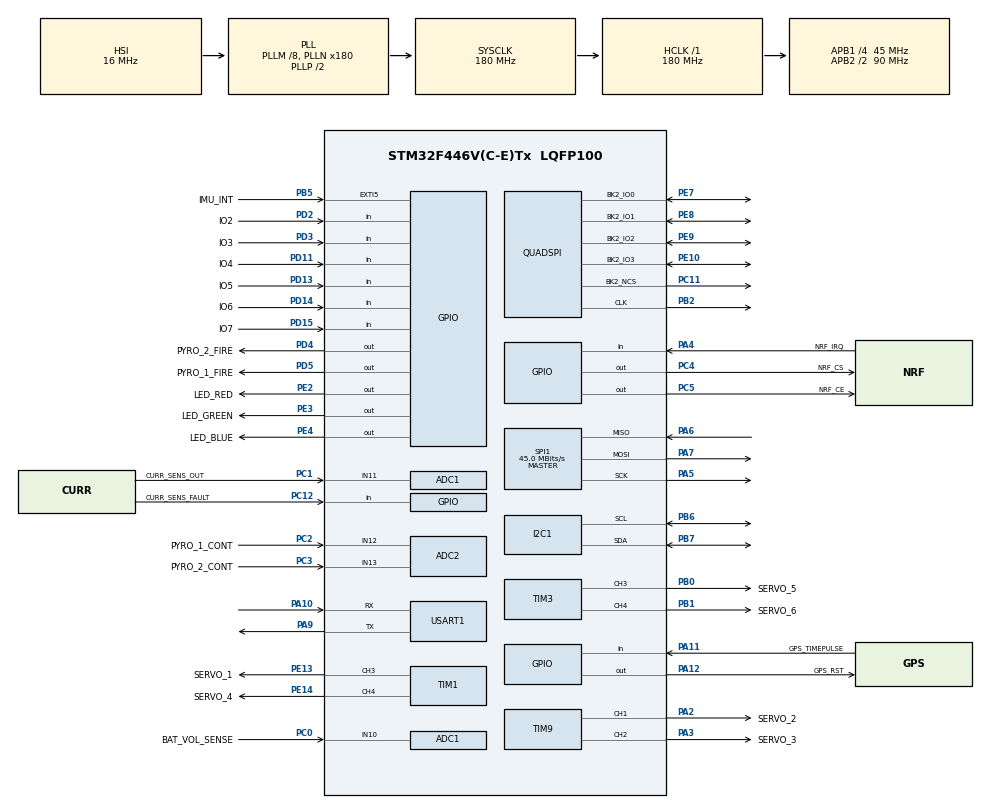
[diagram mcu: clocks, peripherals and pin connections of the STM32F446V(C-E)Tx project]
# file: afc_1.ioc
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PH0-OSC_IN.Signal=RCC_OSC_IN
SH.S_TIM1_CH4.0=TIM1_CH4,PWM Generation4 CH4
SPI1.VirtualType=VM_MASTER
PC12.Signal=GPIO_Input
PB13.Signal=SPI2_SCK
TIM3.Channel-PWM\ Generation4\ CH4=TIM_CHANNEL_4
RCC.SYSCLKSource=RCC_SYSCLKSOURCE_PLLCLK
FREERTOS.configENABLE_FPU=1
SPI1.Direction=SPI_DIRECTION_2LINES
PD4.Signal=GPIO_Output
RCC.APB2TimFreq_Value=180000000
Dma.ADC1.0.Direction=DMA_PERIPH_TO_MEMORY
PB6.Signal=I2C1_SCL
ADC1.Channel-2\#ChannelRegularConversion=ADC_CHANNEL_11
PB6.Mode=I2C
SPI1.CalculateBaudRate=45.0 MBits/s
PC3.Signal=ADCx_IN13
PD0.Signal=CAN1_RX
PD8.Signal=USART3_TX
Dma.ADC1.0.MemDataAlignment=DMA_MDATAALIGN_WORD
NVIC.TIM8_TRG_COM_TIM14_IRQn=true\:0\:0\:false\:false\:true\:false\:false\:true
PB2.Signal=QUADSPI_CLK
PB3.Mode=JTAG_4_pins
VP_ADC1_Vref_Input.Mode=IN-Vrefint
PC4.GPIO_Label=NRF_CS
PE9.Signal=QUADSPI_BK2_IO2
PB1.GPIO_Label=SERVO_6
Dma.ADC1.0.PeriphInc=DMA_PINC_DISABLE
PE4.GPIO_Label=LED_BLUE
PE2.Signal=GPIO_Output
PA8.Signal=I2C3_SCL
VP_SYS_VS_tim14.Mode=TIM14
PE10.Signal=QUADSPI_BK2_IO3
VP_TIM1_VS_ClockSourceINT.Mode=Internal
Mcu.Package=LQFP100
PB1.Signal=S_TIM3_CH4
NVIC.TimeBase=TIM8_TRG_COM_TIM14_IRQn
NVIC.TimeBaseIP=TIM14
PA10.Signal=USART1_RX
PE9.Mode=Single Bank 2
PC11.Mode=Single Bank 2
RCC.APB2CLKDivider=RCC_HCLK_DIV2
RCC.APB1TimFreq_Value=90000000
Dma.ADC1.0.FIFOMode=DMA_FIFOMODE_DISABLE
PA4.GPIO_Label=NRF_IRQ
ADC1.EOCSelection=ADC_EOC_SEQ_CONV
PD15.Signal=GPIO_Input
ADC1.Rank-4\#ChannelRegularConversion=4
PA5.Mode=Full_Duplex_Master
TIM9.Channel-PWM\ Generation2\ CH2=TIM_CHANNEL_2
TIM9.Channel-PWM\ Generation1\ CH1=TIM_CHANNEL_1
Dma.ADC1.0.Instance=DMA2_Stream0
FREERTOS.Tasks01=defaultTask,24,128,StartDefaultTask,Default,NULL,Dynamic,NULL,NULL
PD3.Signal=GPIO_Input
PC2.Signal=ADCx_IN12
PE10.Mode=Single Bank 2
PA11.GPIO_Label=GPS_TIMEPULSE
PC0.Signal=ADCx_IN10
RCC.APB1CLKDivider=RCC_HCLK_DIV4
PE8.Mode=Single Bank 2
TIM3.Channel-PWM\ Generation3\ CH3=TIM_CHANNEL_3
SH.S_TIM9_CH2.0=TIM9_CH2,PWM Generation2 CH2
I2C1.I2C_Mode=I2C_Fast
Dma.ADC1.0.Priority=DMA_PRIORITY_VERY_HIGH
PA9.Signal=USART1_TX
PB14.Signal=SPI2_MISO
PA5.Signal=SPI1_SCK
PE14.Signal=S_TIM1_CH4
PE8.Signal=QUADSPI_BK2_IO1
SPI1.Mode=SPI_MODE_MASTER
SH.S_TIM9_CH1.0=TIM9_CH1,PWM Generation1 CH1
ADC1.DMAContinuousRequests=ENABLE
PA13.Mode=JTAG_4_pins
ADC1.SamplingTime-1\#ChannelRegularConversion=ADC_SAMPLETIME_480CYCLES
PA4.Signal=GPIO_Input
PB5.Signal=GPXTI5
ADC1.master=1
PE13.GPIO_Label=SERVO_1
ADC2.NbrOfConversionFlag=1
PD11.Signal=GPIO_Input
PC12.GPIO_Label=CURR_SENS_FAULT
USART1.VirtualMode=VM_ASYNC
ADC1.Rank-1\#ChannelRegularConversion=1
PA11.Signal=GPIO_Input
ProjectManager.HeapSize=0x200
NVIC.PriorityGroup=NVIC_PRIORITYGROUP_4
PE3.Signal=GPIO_Output
PC3.GPIO_Label=PYRO_2_CONT
TIM1.Channel-PWM\ Generation3\ CH3=TIM_CHANNEL_3
PD2.Signal=GPIO_Input
PB0.Signal=S_TIM3_CH3
PC1.Signal=ADCx_IN11
PD2.GPIO_Label=IO2
Mcu.Family=STM32F4
QUADSPI.ClockMode=QSPI_CLOCK_MODE_3
PA6.Mode=Full_Duplex_Master
RCC.CortexFreq_Value=180000000
ADC1.ContinuousConvMode=ENABLE
ADC2.Channel-0\#ChannelRegularConversion=ADC_CHANNEL_13
PC0.GPIO_Label=BAT_VOL_SENSE
PB0.GPIO_Label=SERVO_5
PB15.Signal=SPI2_MOSI
ProjectManager.StackSize=0x400
VP_FREERTOS_VS_CMSIS_V2.Mode=CMSIS_V2
PD13.Signal=GPIO_Input
PA12.Signal=GPIO_Output
TIM1.Channel-PWM\ Generation4\ CH4=TIM_CHANNEL_4
ADC1.Channel-3\#ChannelRegularConversion=ADC_CHANNEL_VBAT
PD11.GPIO_Label=IO4
RCC.HCLKFreq_Value=180000000
NVIC.DMA2_Stream0_IRQn=true\:5\:0\:false\:false\:true\:true\:false\:true
RCC.AHBFreq_Value=180000000
PH0-OSC_IN.Mode=HSE-External-Oscillator
RCC.HSE_VALUE=25000000
PA15.Mode=JTAG_4_pins
ADC1.SamplingTime-4\#ChannelRegularConversion=ADC_SAMPLETIME_480CYCLES
ADC1.Rank-2\#ChannelRegularConversion=2
PE13.Signal=S_TIM1_CH3
PA14.Mode=JTAG_4_pins
PB7.Signal=I2C1_SDA
PE4.Signal=GPIO_Output
PH1-OSC_OUT.Mode=HSE-External-Oscillator
PD13.GPIO_Label=IO5
PA6.Signal=SPI1_MISO
PD5.GPIO_Label=PYRO_1_FIRE
PA2.GPIO_Label=SERVO_2
PA15.Signal=SYS_JTDI
ADC2.SamplingTime-0\#ChannelRegularConversion=ADC_SAMPLETIME_3CYCLES
PB5.GPIO_Label=IMU_INT
PC5.Signal=GPIO_Output
PD3.GPIO_Label=IO3
PE7.Signal=QUADSPI_BK2_IO0
ADC2.Rank-0\#ChannelRegularConversion=1
Dma.Request0=ADC1
SPI1.BaudRatePrescaler=SPI_BAUDRATEPRESCALER_2
PC2.GPIO_Label=PYRO_1_CONT
PE2.GPIO_Label=LED_RED
PA3.Signal=S_TIM9_CH2
ADC2.ClockPrescaler=ADC_CLOCK_SYNC_PCLK_DIV4
SH.ADCx_IN13.0=ADC2_IN13,IN13
PD15.GPIO_Label=IO7
PA7.Mode=Full_Duplex_Master
ADC1.Channel-4\#ChannelRegularConversion=ADC_CHANNEL_VREFINT
PA10.Mode=Asynchronous
PC11.Signal=QUADSPI_BK2_NCS
PC4.Signal=GPIO_Output
VP_ADC1_Vbat_Input.Mode=IN-Vbat
PE14.GPIO_Label=SERVO_4
PD9.Signal=USART3_RX
PD5.Signal=GPIO_Output
SH.S_TIM3_CH3.0=TIM3_CH3,PWM Generation3 CH3
PA12.GPIO_Label=GPS_RST
ADC1.SamplingTime-2\#ChannelRegularConversion=ADC_SAMPLETIME_480CYCLES
PA13.Signal=SYS_JTMS-SWDIO
Dma.ADC1.0.PeriphDataAlignment=DMA_PDATAALIGN_WORD
PA9.Mode=Asynchronous
SH.ADCx_IN12.0=ADC2_IN12,IN12
ProjectManager.TargetToolchain=STM32CubeIDE
Dma.ADC1.0.Mode=DMA_CIRCULAR
ADC1.Channel-1\#ChannelRegularConversion=ADC_CHANNEL_10
RCC.USBFreq_Value=180000000
board=custom
RCC.VCOOutputFreq_Value=360000000
RCC.APB2Freq_Value=90000000
SH.ADCx_IN11.0=ADC1_IN11,IN11
PD4.GPIO_Label=PYRO_2_FIRE
PC1.GPIO_Label=CURR_SENS_OUT
PH1-OSC_OUT.Signal=RCC_OSC_OUT
PD14.GPIO_Label=IO6
ADC1.NbrOfConversion=4
Mcu.Name=STM32F446V(C-E)Tx
PA2.Signal=S_TIM9_CH1
PD14.Signal=GPIO_Input
PB3.Signal=SYS_JTDO-SWO
RCC.SYSCLKFreq_VALUE=180000000
PE7.Mode=Single Bank 2
ADC1.SamplingTime-3\#ChannelRegularConversion=ADC_SAMPLETIME_3CYCLES
ADC1.Rank-3\#ChannelRegularConversion=3
PC5.GPIO_Label=NRF_CE
PB2.Mode=Single Bank 2
PB7.Mode=I2C
PA14.Signal=SYS_JTCK-SWCLK
Dma.ADC1.0.MemInc=DMA_MINC_ENABLE
SH.ADCx_IN10.0=ADC1_IN10,IN10
SH.S_TIM1_CH3.0=TIM1_CH3,PWM Generation3 CH3
ADC1.NbrOfConversionFlag=1
RCC.PLLM=8
RCC.PLLN=180
PE3.GPIO_Label=LED_GREEN
PC9.Signal=I2C3_SDA
RCC.APB1Freq_Value=45000000
ADC1.ClockPrescaler=ADC_CLOCK_SYNC_PCLK_DIV4
PA3.GPIO_Label=SERVO_3
SH.S_TIM3_CH4.0=TIM3_CH4,PWM Generation4 CH4
PA7.Signal=SPI1_MOSI

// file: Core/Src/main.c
/* USER CODE BEGIN Header */
/**
  ******************************************************************************
  * @file           : main.c
  * @brief          : Main program body
  ******************************************************************************
  * @attention
  *
  * <h2><center>&copy; Copyright (c) 2020 STMicroelectronics.
  * All rights reserved.</center></h2>
  *
  * This software component is licensed by ST under BSD 3-Clause license,
  * the "License"; You may not use this file except in compliance with the
  * License. You may obtain a copy of the License at:
  *                        opensource.org/licenses/BSD-3-Clause
  *
  ******************************************************************************
  */
/* USER CODE END Header */
#include "main.h"
#include "cmsis_os.h"

/* USER CODE BEGIN Includes */

#include "afc_lib/afc_power.h"
#include "afc_lib/afc_barometer.h"
#include "afc_lib/afc_imu.h"
#include "afc_lib/afc_core.h"

/* USER CODE END Includes */

ADC_HandleTypeDef hadc1;
ADC_HandleTypeDef hadc2;
DMA_HandleTypeDef hdma_adc1;

I2C_HandleTypeDef hi2c1;

QSPI_HandleTypeDef hqspi;

SPI_HandleTypeDef hspi1;

TIM_HandleTypeDef htim1;
TIM_HandleTypeDef htim3;
TIM_HandleTypeDef htim9;

UART_HandleTypeDef huart1;

/* Definitions for defaultTask */
osThreadId_t defaultTaskHandle;
const osThreadAttr_t defaultTask_attributes = {
  .name = "defaultTask",
  .priority = (osPriority_t) osPriorityNormal,
  .stack_size = 128 * 4
};

void SystemClock_Config(void);
static void MX_GPIO_Init(void);
static void MX_DMA_Init(void);
static void MX_ADC1_Init(void);
static void MX_ADC2_Init(void);
static void MX_I2C1_Init(void);
static void MX_QUADSPI_Init(void);
static void MX_SPI1_Init(void);
static void MX_TIM1_Init(void);
static void MX_TIM3_Init(void);
static void MX_TIM9_Init(void);
static void MX_USART1_UART_Init(void);
void StartDefaultTask(void *argument);

int main(void)
{

  /* MCU Configuration--------------------------------------------------------*/

  /* Reset of all peripherals, Initializes the Flash interface and the Systick. */
  HAL_Init();

  /* Configure the system clock */
  SystemClock_Config();

  /* Initialize all configured peripherals */
  MX_GPIO_Init();
  MX_DMA_Init();
  MX_ADC1_Init();
  MX_ADC2_Init();
  MX_I2C1_Init();
  MX_QUADSPI_Init();
  MX_SPI1_Init();
  MX_TIM1_Init();
  MX_TIM3_Init();
  MX_TIM9_Init();
  MX_USART1_UART_Init();

  /* Init scheduler */
  osKernelInitialize();

  /* Create the thread(s) */
  /* creation of defaultTask */
  defaultTaskHandle = osThreadNew(StartDefaultTask, NULL, &defaultTask_attributes);

  /* USER CODE BEGIN RTOS_THREADS */
  afc_pwr_init();
  afc_core_init();

  /* USER CODE END RTOS_THREADS */

  /* Start scheduler */
  osKernelStart();

  /* We should never get here as control is now taken by the scheduler */
  /* Infinite loop */
  while (1)
  {

  }
}

void SystemClock_Config(void)
{
  RCC_OscInitTypeDef RCC_OscInitStruct = {0};
  RCC_ClkInitTypeDef RCC_ClkInitStruct = {0};

  /** Configure the main internal regulator output voltage
  */
  __HAL_RCC_PWR_CLK_ENABLE();
  __HAL_PWR_VOLTAGESCALING_CONFIG(PWR_REGULATOR_VOLTAGE_SCALE1);
  /** Initializes the RCC Oscillators according to the specified parameters
  * in the RCC_OscInitTypeDef structure.
  */
  RCC_OscInitStruct.OscillatorType = RCC_OSCILLATORTYPE_HSI;
  RCC_OscInitStruct.HSIState = RCC_HSI_ON;
  RCC_OscInitStruct.HSICalibrationValue = RCC_HSICALIBRATION_DEFAULT;
  RCC_OscInitStruct.PLL.PLLState = RCC_PLL_ON;
  RCC_OscInitStruct.PLL.PLLSource = RCC_PLLSOURCE_HSI;
  RCC_OscInitStruct.PLL.PLLM = 8;
  RCC_OscInitStruct.PLL.PLLN = 180;
  RCC_OscInitStruct.PLL.PLLP = RCC_PLLP_DIV2;
  RCC_OscInitStruct.PLL.PLLQ = 2;
  RCC_OscInitStruct.PLL.PLLR = 2;
  if (HAL_RCC_OscConfig(&RCC_OscInitStruct) != HAL_OK)
  {
    Error_Handler();
  }
  /** Activate the Over-Drive mode
  */
  if (HAL_PWREx_EnableOverDrive() != HAL_OK)
  {
    Error_Handler();
  }
  /** Initializes the CPU, AHB and APB buses clocks
  */
  RCC_ClkInitStruct.ClockType = RCC_CLOCKTYPE_HCLK|RCC_CLOCKTYPE_SYSCLK
                              |RCC_CLOCKTYPE_PCLK1|RCC_CLOCKTYPE_PCLK2;
  RCC_ClkInitStruct.SYSCLKSource = RCC_SYSCLKSOURCE_PLLCLK;
  RCC_ClkInitStruct.AHBCLKDivider = RCC_SYSCLK_DIV1;
  RCC_ClkInitStruct.APB1CLKDivider = RCC_HCLK_DIV4;
  RCC_ClkInitStruct.APB2CLKDivider = RCC_HCLK_DIV2;

  if (HAL_RCC_ClockConfig(&RCC_ClkInitStruct, FLASH_LATENCY_5) != HAL_OK)
  {
    Error_Handler();
  }
}

static void MX_ADC1_Init(void)
{

  ADC_ChannelConfTypeDef sConfig = {0};

  /** Configure the global features of the ADC (Clock, Resolution, Data Alignment and number of conversion)
  */
  hadc1.Instance = ADC1;
  hadc1.Init.ClockPrescaler = ADC_CLOCK_SYNC_PCLK_DIV4;
  hadc1.Init.Resolution = ADC_RESOLUTION_12B;
  hadc1.Init.ScanConvMode = ENABLE;
  hadc1.Init.ContinuousConvMode = ENABLE;
  hadc1.Init.DiscontinuousConvMode = DISABLE;
  hadc1.Init.ExternalTrigConvEdge = ADC_EXTERNALTRIGCONVEDGE_NONE;
  hadc1.Init.ExternalTrigConv = ADC_SOFTWARE_START;
  hadc1.Init.DataAlign = ADC_DATAALIGN_RIGHT;
  hadc1.Init.NbrOfConversion = 4;
  hadc1.Init.DMAContinuousRequests = ENABLE;
  hadc1.Init.EOCSelection = ADC_EOC_SEQ_CONV;
  if (HAL_ADC_Init(&hadc1) != HAL_OK)
  {
    Error_Handler();
  }
  /** Configure for the selected ADC regular channel its corresponding rank in the sequencer and its sample time.
  */
  sConfig.Channel = ADC_CHANNEL_10;
  sConfig.Rank = 1;
  sConfig.SamplingTime = ADC_SAMPLETIME_480CYCLES;
  if (HAL_ADC_ConfigChannel(&hadc1, &sConfig) != HAL_OK)
  {
    Error_Handler();
  }
  /** Configure for the selected ADC regular channel its corresponding rank in the sequencer and its sample time.
  */
  sConfig.Channel = ADC_CHANNEL_11;
  sConfig.Rank = 2;
  if (HAL_ADC_ConfigChannel(&hadc1, &sConfig) != HAL_OK)
  {
    Error_Handler();
  }
  /** Configure for the selected ADC regular channel its corresponding rank in the sequencer and its sample time.
  */
  sConfig.Channel = ADC_CHANNEL_VBAT;
  sConfig.Rank = 3;
  sConfig.SamplingTime = ADC_SAMPLETIME_3CYCLES;
  if (HAL_ADC_ConfigChannel(&hadc1, &sConfig) != HAL_OK)
  {
    Error_Handler();
  }
  /** Configure for the selected ADC regular channel its corresponding rank in the sequencer and its sample time.
  */
  sConfig.Channel = ADC_CHANNEL_VREFINT;
  sConfig.Rank = 4;
  sConfig.SamplingTime = ADC_SAMPLETIME_480CYCLES;
  if (HAL_ADC_ConfigChannel(&hadc1, &sConfig) != HAL_OK)
  {
    Error_Handler();
  }

}

static void MX_ADC2_Init(void)
{

  ADC_ChannelConfTypeDef sConfig = {0};

  /** Configure the global features of the ADC (Clock, Resolution, Data Alignment and number of conversion)
  */
  hadc2.Instance = ADC2;
  hadc2.Init.ClockPrescaler = ADC_CLOCK_SYNC_PCLK_DIV4;
  hadc2.Init.Resolution = ADC_RESOLUTION_12B;
  hadc2.Init.ScanConvMode = DISABLE;
  hadc2.Init.ContinuousConvMode = DISABLE;
  hadc2.Init.DiscontinuousConvMode = DISABLE;
  hadc2.Init.ExternalTrigConvEdge = ADC_EXTERNALTRIGCONVEDGE_NONE;
  hadc2.Init.ExternalTrigConv = ADC_SOFTWARE_START;
  hadc2.Init.DataAlign = ADC_DATAALIGN_RIGHT;
  hadc2.Init.NbrOfConversion = 1;
  hadc2.Init.DMAContinuousRequests = DISABLE;
  hadc2.Init.EOCSelection = ADC_EOC_SINGLE_CONV;
  if (HAL_ADC_Init(&hadc2) != HAL_OK)
  {
    Error_Handler();
  }
  /** Configure for the selected ADC regular channel its corresponding rank in the sequencer and its sample time.
  */
  sConfig.Channel = ADC_CHANNEL_13;
  sConfig.Rank = 1;
  sConfig.SamplingTime = ADC_SAMPLETIME_3CYCLES;
  if (HAL_ADC_ConfigChannel(&hadc2, &sConfig) != HAL_OK)
  {
    Error_Handler();
  }

}

static void MX_I2C1_Init(void)
{

  hi2c1.Instance = I2C1;
  hi2c1.Init.ClockSpeed = 400000;
  hi2c1.Init.DutyCycle = I2C_DUTYCYCLE_2;
  hi2c1.Init.OwnAddress1 = 0;
  hi2c1.Init.AddressingMode = I2C_ADDRESSINGMODE_7BIT;
  hi2c1.Init.DualAddressMode = I2C_DUALADDRESS_DISABLE;
  hi2c1.Init.OwnAddress2 = 0;
  hi2c1.Init.GeneralCallMode = I2C_GENERALCALL_DISABLE;
  hi2c1.Init.NoStretchMode = I2C_NOSTRETCH_DISABLE;
  if (HAL_I2C_Init(&hi2c1) != HAL_OK)
  {
    Error_Handler();
  }

}

static void MX_QUADSPI_Init(void)
{

  /* QUADSPI parameter configuration*/
  hqspi.Instance = QUADSPI;
  hqspi.Init.ClockPrescaler = 255;
  hqspi.Init.FifoThreshold = 1;
  hqspi.Init.SampleShifting = QSPI_SAMPLE_SHIFTING_NONE;
  hqspi.Init.FlashSize = 1;
  hqspi.Init.ChipSelectHighTime = QSPI_CS_HIGH_TIME_1_CYCLE;
  hqspi.Init.ClockMode = QSPI_CLOCK_MODE_3;
  hqspi.Init.FlashID = QSPI_FLASH_ID_2;
  hqspi.Init.DualFlash = QSPI_DUALFLASH_DISABLE;
  if (HAL_QSPI_Init(&hqspi) != HAL_OK)
  {
    Error_Handler();
  }

}

static void MX_SPI1_Init(void)
{

  /* SPI1 parameter configuration*/
  hspi1.Instance = SPI1;
  hspi1.Init.Mode = SPI_MODE_MASTER;
  hspi1.Init.Direction = SPI_DIRECTION_2LINES;
  hspi1.Init.DataSize = SPI_DATASIZE_8BIT;
  hspi1.Init.CLKPolarity = SPI_POLARITY_LOW;
  hspi1.Init.CLKPhase = SPI_PHASE_1EDGE;
  hspi1.Init.NSS = SPI_NSS_SOFT;
  hspi1.Init.BaudRatePrescaler = SPI_BAUDRATEPRESCALER_2;
  hspi1.Init.FirstBit = SPI_FIRSTBIT_MSB;
  hspi1.Init.TIMode = SPI_TIMODE_DISABLE;
  hspi1.Init.CRCCalculation = SPI_CRCCALCULATION_DISABLE;
  hspi1.Init.CRCPolynomial = 10;
  if (HAL_SPI_Init(&hspi1) != HAL_OK)
  {
    Error_Handler();
  }

}

static void MX_TIM1_Init(void)
{

  TIM_ClockConfigTypeDef sClockSourceConfig = {0};
  TIM_MasterConfigTypeDef sMasterConfig = {0};
  TIM_OC_InitTypeDef sConfigOC = {0};
  TIM_BreakDeadTimeConfigTypeDef sBreakDeadTimeConfig = {0};

  htim1.Instance = TIM1;
  htim1.Init.Prescaler = 0;
  htim1.Init.CounterMode = TIM_COUNTERMODE_UP;
  htim1.Init.Period = 65535;
  htim1.Init.ClockDivision = TIM_CLOCKDIVISION_DIV1;
  htim1.Init.RepetitionCounter = 0;
  htim1.Init.AutoReloadPreload = TIM_AUTORELOAD_PRELOAD_DISABLE;
  if (HAL_TIM_Base_Init(&htim1) != HAL_OK)
  {
    Error_Handler();
  }
  sClockSourceConfig.ClockSource = TIM_CLOCKSOURCE_INTERNAL;
  if (HAL_TIM_ConfigClockSource(&htim1, &sClockSourceConfig) != HAL_OK)
  {
    Error_Handler();
  }
  if (HAL_TIM_PWM_Init(&htim1) != HAL_OK)
  {
    Error_Handler();
  }
  sMasterConfig.MasterOutputTrigger = TIM_TRGO_RESET;
  sMasterConfig.MasterSlaveMode = TIM_MASTERSLAVEMODE_DISABLE;
  if (HAL_TIMEx_MasterConfigSynchronization(&htim1, &sMasterConfig) != HAL_OK)
  {
    Error_Handler();
  }
  sConfigOC.OCMode = TIM_OCMODE_PWM1;
  sConfigOC.Pulse = 0;
  sConfigOC.OCPolarity = TIM_OCPOLARITY_HIGH;
  sConfigOC.OCNPolarity = TIM_OCNPOLARITY_HIGH;
  sConfigOC.OCFastMode = TIM_OCFAST_DISABLE;
  sConfigOC.OCIdleState = TIM_OCIDLESTATE_RESET;
  sConfigOC.OCNIdleState = TIM_OCNIDLESTATE_RESET;
  if (HAL_TIM_PWM_ConfigChannel(&htim1, &sConfigOC, TIM_CHANNEL_3) != HAL_OK)
  {
    Error_Handler();
  }
  if (HAL_TIM_PWM_ConfigChannel(&htim1, &sConfigOC, TIM_CHANNEL_4) != HAL_OK)
  {
    Error_Handler();
  }
  sBreakDeadTimeConfig.OffStateRunMode = TIM_OSSR_DISABLE;
  sBreakDeadTimeConfig.OffStateIDLEMode = TIM_OSSI_DISABLE;
  sBreakDeadTimeConfig.LockLevel = TIM_LOCKLEVEL_OFF;
  sBreakDeadTimeConfig.DeadTime = 0;
  sBreakDeadTimeConfig.BreakState = TIM_BREAK_DISABLE;
  sBreakDeadTimeConfig.BreakPolarity = TIM_BREAKPOLARITY_HIGH;
  sBreakDeadTimeConfig.AutomaticOutput = TIM_AUTOMATICOUTPUT_DISABLE;
  if (HAL_TIMEx_ConfigBreakDeadTime(&htim1, &sBreakDeadTimeConfig) != HAL_OK)
  {
    Error_Handler();
  }
  HAL_TIM_MspPostInit(&htim1);

}

static void MX_TIM3_Init(void)
{

  TIM_MasterConfigTypeDef sMasterConfig = {0};
  TIM_OC_InitTypeDef sConfigOC = {0};

  htim3.Instance = TIM3;
  htim3.Init.Prescaler = 0;
  htim3.Init.CounterMode = TIM_COUNTERMODE_UP;
  htim3.Init.Period = 65535;
  htim3.Init.ClockDivision = TIM_CLOCKDIVISION_DIV1;
  htim3.Init.AutoReloadPreload = TIM_AUTORELOAD_PRELOAD_DISABLE;
  if (HAL_TIM_PWM_Init(&htim3) != HAL_OK)
  {
    Error_Handler();
  }
  sMasterConfig.MasterOutputTrigger = TIM_TRGO_RESET;
  sMasterConfig.MasterSlaveMode = TIM_MASTERSLAVEMODE_DISABLE;
  if (HAL_TIMEx_MasterConfigSynchronization(&htim3, &sMasterConfig) != HAL_OK)
  {
    Error_Handler();
  }
  sConfigOC.OCMode = TIM_OCMODE_PWM1;
  sConfigOC.Pulse = 0;
  sConfigOC.OCPolarity = TIM_OCPOLARITY_HIGH;
  sConfigOC.OCFastMode = TIM_OCFAST_DISABLE;
  if (HAL_TIM_PWM_ConfigChannel(&htim3, &sConfigOC, TIM_CHANNEL_3) != HAL_OK)
  {
    Error_Handler();
  }
  if (HAL_TIM_PWM_ConfigChannel(&htim3, &sConfigOC, TIM_CHANNEL_4) != HAL_OK)
  {
    Error_Handler();
  }
  HAL_TIM_MspPostInit(&htim3);

}

static void MX_TIM9_Init(void)
{

  TIM_OC_InitTypeDef sConfigOC = {0};

  htim9.Instance = TIM9;
  htim9.Init.Prescaler = 0;
  htim9.Init.CounterMode = TIM_COUNTERMODE_UP;
  htim9.Init.Period = 65535;
  htim9.Init.ClockDivision = TIM_CLOCKDIVISION_DIV1;
  htim9.Init.AutoReloadPreload = TIM_AUTORELOAD_PRELOAD_DISABLE;
  if (HAL_TIM_PWM_Init(&htim9) != HAL_OK)
  {
    Error_Handler();
  }
  sConfigOC.OCMode = TIM_OCMODE_PWM1;
  sConfigOC.Pulse = 0;
  sConfigOC.OCPolarity = TIM_OCPOLARITY_HIGH;
  sConfigOC.OCFastMode = TIM_OCFAST_DISABLE;
  if (HAL_TIM_PWM_ConfigChannel(&htim9, &sConfigOC, TIM_CHANNEL_1) != HAL_OK)
  {
    Error_Handler();
  }
  if (HAL_TIM_PWM_ConfigChannel(&htim9, &sConfigOC, TIM_CHANNEL_2) != HAL_OK)
  {
    Error_Handler();
  }
  HAL_TIM_MspPostInit(&htim9);

}

static void MX_USART1_UART_Init(void)
{

  huart1.Instance = USART1;
  huart1.Init.BaudRate = 115200;
  huart1.Init.WordLength = UART_WORDLENGTH_8B;
  huart1.Init.StopBits = UART_STOPBITS_1;
  huart1.Init.Parity = UART_PARITY_NONE;
  huart1.Init.Mode = UART_MODE_TX_RX;
  huart1.Init.HwFlowCtl = UART_HWCONTROL_NONE;
  huart1.Init.OverSampling = UART_OVERSAMPLING_16;
  if (HAL_UART_Init(&huart1) != HAL_OK)
  {
    Error_Handler();
  }

}

static void MX_DMA_Init(void)
{

  /* DMA controller clock enable */
  __HAL_RCC_DMA2_CLK_ENABLE();

  /* DMA interrupt init */
  /* DMA2_Stream0_IRQn interrupt configuration */
  HAL_NVIC_SetPriority(DMA2_Stream0_IRQn, 5, 0);
  HAL_NVIC_EnableIRQ(DMA2_Stream0_IRQn);

}

static void MX_GPIO_Init(void)
{
  GPIO_InitTypeDef GPIO_InitStruct = {0};

  /* GPIO Ports Clock Enable */
  __HAL_RCC_GPIOE_CLK_ENABLE();
  __HAL_RCC_GPIOH_CLK_ENABLE();
  __HAL_RCC_GPIOC_CLK_ENABLE();
  __HAL_RCC_GPIOA_CLK_ENABLE();
  __HAL_RCC_GPIOB_CLK_ENABLE();
  __HAL_RCC_GPIOD_CLK_ENABLE();

  /*Configure GPIO pin Output Level */
  HAL_GPIO_WritePin(GPIOE, LED_RED_Pin|LED_GREEN_Pin|LED_BLUE_Pin, GPIO_PIN_RESET);

  /*Configure GPIO pin Output Level */
  HAL_GPIO_WritePin(GPIOC, NRF_CS_Pin|NRF_CE_Pin, GPIO_PIN_RESET);

  /*Configure GPIO pin Output Level */
  HAL_GPIO_WritePin(GPS_RST_GPIO_Port, GPS_RST_Pin, GPIO_PIN_RESET);

  /*Configure GPIO pin Output Level */
  HAL_GPIO_WritePin(GPIOD, PYRO_2_FIRE_Pin|PYRO_1_FIRE_Pin, GPIO_PIN_RESET);

  /*Configure GPIO pins : LED_RED_Pin LED_GREEN_Pin LED_BLUE_Pin */
  GPIO_InitStruct.Pin = LED_RED_Pin|LED_GREEN_Pin|LED_BLUE_Pin;
  GPIO_InitStruct.Mode = GPIO_MODE_OUTPUT_PP;
  GPIO_InitStruct.Pull = GPIO_NOPULL;
  GPIO_InitStruct.Speed = GPIO_SPEED_FREQ_LOW;
  HAL_GPIO_Init(GPIOE, &GPIO_InitStruct);

  /*Configure GPIO pins : NRF_IRQ_Pin GPS_TIMEPULSE_Pin */
  GPIO_InitStruct.Pin = NRF_IRQ_Pin|GPS_TIMEPULSE_Pin;
  GPIO_InitStruct.Mode = GPIO_MODE_INPUT;
  GPIO_InitStruct.Pull = GPIO_NOPULL;
  HAL_GPIO_Init(GPIOA, &GPIO_InitStruct);

  /*Configure GPIO pins : NRF_CS_Pin NRF_CE_Pin */
  GPIO_InitStruct.Pin = NRF_CS_Pin|NRF_CE_Pin;
  GPIO_InitStruct.Mode = GPIO_MODE_OUTPUT_PP;
  GPIO_InitStruct.Pull = GPIO_NOPULL;
  GPIO_InitStruct.Speed = GPIO_SPEED_FREQ_LOW;
  HAL_GPIO_Init(GPIOC, &GPIO_InitStruct);

  /*Configure GPIO pins : PB13 PB14 PB15 */
  GPIO_InitStruct.Pin = GPIO_PIN_13|GPIO_PIN_14|GPIO_PIN_15;
  GPIO_InitStruct.Mode = GPIO_MODE_AF_PP;
  GPIO_InitStruct.Pull = GPIO_NOPULL;
  GPIO_InitStruct.Speed = GPIO_SPEED_FREQ_VERY_HIGH;
  GPIO_InitStruct.Alternate = GPIO_AF5_SPI2;
  HAL_GPIO_Init(GPIOB, &GPIO_InitStruct);

  /*Configure GPIO pins : PD8 PD9 */
  GPIO_InitStruct.Pin = GPIO_PIN_8|GPIO_PIN_9;
  GPIO_InitStruct.Mode = GPIO_MODE_AF_PP;
  GPIO_InitStruct.Pull = GPIO_NOPULL;
  GPIO_InitStruct.Speed = GPIO_SPEED_FREQ_VERY_HIGH;
  GPIO_InitStruct.Alternate = GPIO_AF7_USART3;
  HAL_GPIO_Init(GPIOD, &GPIO_InitStruct);

  /*Configure GPIO pins : IO4_Pin IO5_Pin IO6_Pin IO7_Pin
                           IO2_Pin IO3_Pin */
  GPIO_InitStruct.Pin = IO4_Pin|IO5_Pin|IO6_Pin|IO7_Pin
                          |IO2_Pin|IO3_Pin;
  GPIO_InitStruct.Mode = GPIO_MODE_INPUT;
  GPIO_InitStruct.Pull = GPIO_NOPULL;
  HAL_GPIO_Init(GPIOD, &GPIO_InitStruct);

  /*Configure GPIO pin : PC9 */
  GPIO_InitStruct.Pin = GPIO_PIN_9;
  GPIO_InitStruct.Mode = GPIO_MODE_AF_OD;
  GPIO_InitStruct.Pull = GPIO_PULLUP;
  GPIO_InitStruct.Speed = GPIO_SPEED_FREQ_VERY_HIGH;
  GPIO_InitStruct.Alternate = GPIO_AF4_I2C3;
  HAL_GPIO_Init(GPIOC, &GPIO_InitStruct);

  /*Configure GPIO pin : PA8 */
  GPIO_InitStruct.Pin = GPIO_PIN_8;
  GPIO_InitStruct.Mode = GPIO_MODE_AF_OD;
  GPIO_InitStruct.Pull = GPIO_PULLUP;
  GPIO_InitStruct.Speed = GPIO_SPEED_FREQ_VERY_HIGH;
  GPIO_InitStruct.Alternate = GPIO_AF4_I2C3;
  HAL_GPIO_Init(GPIOA, &GPIO_InitStruct);

  /*Configure GPIO pin : GPS_RST_Pin */
  GPIO_InitStruct.Pin = GPS_RST_Pin;
  GPIO_InitStruct.Mode = GPIO_MODE_OUTPUT_PP;
  GPIO_InitStruct.Pull = GPIO_NOPULL;
  GPIO_InitStruct.Speed = GPIO_SPEED_FREQ_LOW;
  HAL_GPIO_Init(GPS_RST_GPIO_Port, &GPIO_InitStruct);

  /*Configure GPIO pin : CURR_SENS_FAULT_Pin */
  GPIO_InitStruct.Pin = CURR_SENS_FAULT_Pin;
  GPIO_InitStruct.Mode = GPIO_MODE_INPUT;
  GPIO_InitStruct.Pull = GPIO_NOPULL;
  HAL_GPIO_Init(CURR_SENS_FAULT_GPIO_Port, &GPIO_InitStruct);

  /*Configure GPIO pin : PD0 */
  GPIO_InitStruct.Pin = GPIO_PIN_0;
  GPIO_InitStruct.Mode = GPIO_MODE_AF_PP;
  GPIO_InitStruct.Pull = GPIO_NOPULL;
  GPIO_InitStruct.Speed = GPIO_SPEED_FREQ_VERY_HIGH;
  GPIO_InitStruct.Alternate = GPIO_AF9_CAN1;
  HAL_GPIO_Init(GPIOD, &GPIO_InitStruct);

  /*Configure GPIO pins : PYRO_2_FIRE_Pin PYRO_1_FIRE_Pin */
  GPIO_InitStruct.Pin = PYRO_2_FIRE_Pin|PYRO_1_FIRE_Pin;
  GPIO_InitStruct.Mode = GPIO_MODE_OUTPUT_PP;
  GPIO_InitStruct.Pull = GPIO_NOPULL;
  GPIO_InitStruct.Speed = GPIO_SPEED_FREQ_LOW;
  HAL_GPIO_Init(GPIOD, &GPIO_InitStruct);

  /*Configure GPIO pin : IMU_INT_Pin */
  GPIO_InitStruct.Pin = IMU_INT_Pin;
  GPIO_InitStruct.Mode = GPIO_MODE_IT_RISING;
  GPIO_InitStruct.Pull = GPIO_NOPULL;
  HAL_GPIO_Init(IMU_INT_GPIO_Port, &GPIO_InitStruct);

}

void StartDefaultTask(void *argument)
{
  /* USER CODE BEGIN 5 */

	HAL_StatusTypeDef result = afc_imu_init();

	afc_baro_init();
	afc_core_set_led_freq(LED_RED, 0);
	afc_core_set_led_freq(LED_GREEN, 0);
	afc_core_set_led_freq(LED_BLUE, 0);

	if (result == HAL_OK) {
		afc_core_set_led_freq(LED_GREEN, 500);
	} else if(result == HAL_TIMEOUT) {
		afc_core_set_led_freq(LED_BLUE, 500);
	} else if (result == HAL_ERROR) {
		afc_core_set_led_freq(LED_RED, 500);
	} else if (result == HAL_BUSY) {
		afc_core_set_led_freq(LED_RED, 200);
	}

  /* Infinite loop */
  for(;;)
  {
	float t = afc_baro_read_temperature();
	float p = afc_baro_read_pressure();
    osDelay(1000);
  }
  /* USER CODE END 5 */
}

 /**
  * @brief  Period elapsed callback in non blocking mode
  * @note   This function is called  when TIM14 interrupt took place, inside
  * HAL_TIM_IRQHandler(). It makes a direct call to HAL_IncTick() to increment
  * a global variable "uwTick" used as application time base.
  * @param  htim : TIM handle
  * @retval None
  */
void HAL_TIM_PeriodElapsedCallback(TIM_HandleTypeDef *htim)
{
  if (htim->Instance == TIM14) {
    HAL_IncTick();
  }
}

void Error_Handler(void)
{
  __disable_irq();
  while (1)
  {
  }
}

/************************ (C) COPYRIGHT STMicroelectronics *****END OF FILE****/
